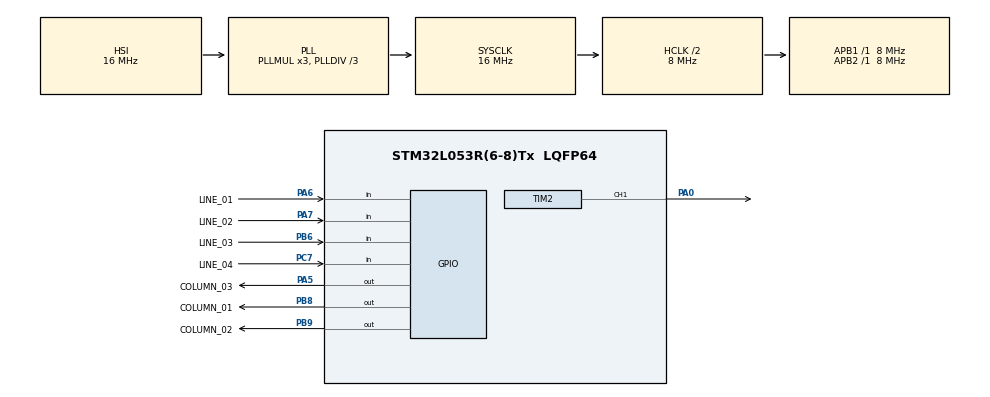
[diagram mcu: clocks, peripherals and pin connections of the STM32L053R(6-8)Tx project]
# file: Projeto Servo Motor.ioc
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Mcu.Family=STM32L0
Mcu.Name=STM32L053R(6-8)Tx
Mcu.Package=LQFP64
PA0.Signal=S_TIM2_CH1
PA5.GPIO_Label=COLUMN_03
PA5.GPIO_PuPd=GPIO_NOPULL
PA5.Signal=GPIO_Output
PA6.GPIO_Label=LINE_01
PA6.GPIO_PuPd=GPIO_PULLUP
PA6.Signal=GPIO_Input
PA7.GPIO_Label=LINE_02
PA7.GPIO_PuPd=GPIO_PULLUP
PA7.Signal=GPIO_Input
PB6.GPIO_Label=LINE_03
PB6.GPIO_PuPd=GPIO_PULLUP
PB6.Signal=GPIO_Input
PB8.GPIO_Label=COLUMN_01
PB8.Signal=GPIO_Output
PB9.GPIO_Label=COLUMN_02
PB9.Signal=GPIO_Output
PC7.GPIO_Label=LINE_04
PC7.GPIO_PuPd=GPIO_PULLUP
PC7.Signal=GPIO_Input
ProjectManager.HeapSize=0x200
ProjectManager.StackSize=0x400
ProjectManager.TargetToolchain=STM32CubeIDE
RCC.AHBCLKDivider=RCC_SYSCLK_DIV2
RCC.AHBFreq_Value=8000000
RCC.APB1Freq_Value=8000000
RCC.APB1TimFreq_Value=8000000
RCC.APB2Freq_Value=8000000
RCC.APB2TimFreq_Value=8000000
RCC.HCLKFreq_Value=8000000
RCC.HSE_VALUE=8000000
RCC.HSI16_VALUE=16000000
RCC.HSI48_VALUE=48000000
RCC.HSI_VALUE=16000000
RCC.MSI_VALUE=2097000
RCC.PLLDIV=RCC_PLLDIV_3
RCC.SYSCLKFreq_VALUE=16000000
RCC.SYSCLKSource=RCC_SYSCLKSOURCE_PLLCLK
RCC.VCOOutputFreq_Value=48000000
SH.S_TIM2_CH1.0=TIM2_CH1,PWM Generation1 CH1
TIM2.Channel-PWM\ Generation1\ CH1=TIM_CHANNEL_1
TIM2.Period=20000-1
TIM2.Prescaler=8-1
TIM2.Pulse-PWM\ Generation1\ CH1=500-1
VP_TIM2_VS_ClockSourceINT.Mode=Internal
board=NUCLEO-L053R8

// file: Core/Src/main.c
/* USER CODE BEGIN Header */
/**
  ******************************************************************************
  * @file           : main.c
  * @brief          : Main program body
  ******************************************************************************
  * @attention
  *
  * Copyright (c) 2025 STMicroelectronics.
  * All rights reserved.
  *
  * This software is licensed under terms that can be found in the LICENSE file
  * in the root directory of this software component.
  * If no LICENSE file comes with this software, it is provided AS-IS.
  *
  ******************************************************************************
  */
/* USER CODE END Header */
#include "main.h"

TIM_HandleTypeDef htim2;

/* USER CODE BEGIN PV */

char tmap[4][3] = {{'1', '2', '3'}, {'4', '5', '6'}, {'7', '8', '9'}, {'*', '0', '#'}};

uint8_t atual_column = 1;
uint16_t dc_servo = 150;

char response = 0;

/* USER CODE END PV */

void SystemClock_Config(void);
static void MX_GPIO_Init(void);
static void MX_TIM2_Init(void);
/* USER CODE BEGIN PFP */
void Keyboard_check(void);
void Line_verify(void);
/* USER CODE END PFP */

int main(void)
{

  /* MCU Configuration--------------------------------------------------------*/

  /* Reset of all peripherals, Initializes the Flash interface and the Systick. */
  HAL_Init();

  /* Configure the system clock */
  SystemClock_Config();

  /* Initialize all configured peripherals */
  MX_GPIO_Init();
  MX_TIM2_Init();
  /* USER CODE BEGIN 2 */

  HAL_TIM_Base_Start(&htim2);
  HAL_TIM_PWM_Start(&htim2, TIM_CHANNEL_1);

  /* USER CODE END 2 */

  /* Infinite loop */
  /* USER CODE BEGIN WHILE */
  while (1)
  {
	  Keyboard_check();
	  TIM2 -> CCR1 = 500;
	  HAL_Delay(1000);
	  TIM2 -> CCR1 = 1500;
	  HAL_Delay(1000);
	  TIM2 -> CCR1 = 2500;
	  HAL_Delay(1000);

    /* USER CODE END WHILE */

  }
}

void SystemClock_Config(void)
{
  RCC_OscInitTypeDef RCC_OscInitStruct = {0};
  RCC_ClkInitTypeDef RCC_ClkInitStruct = {0};

  /** Configure the main internal regulator output voltage
  */
  __HAL_PWR_VOLTAGESCALING_CONFIG(PWR_REGULATOR_VOLTAGE_SCALE1);

  /** Initializes the RCC Oscillators according to the specified parameters
  * in the RCC_OscInitTypeDef structure.
  */
  RCC_OscInitStruct.OscillatorType = RCC_OSCILLATORTYPE_HSI;
  RCC_OscInitStruct.HSIState = RCC_HSI_ON;
  RCC_OscInitStruct.HSICalibrationValue = RCC_HSICALIBRATION_DEFAULT;
  RCC_OscInitStruct.PLL.PLLState = RCC_PLL_ON;
  RCC_OscInitStruct.PLL.PLLSource = RCC_PLLSOURCE_HSI;
  RCC_OscInitStruct.PLL.PLLMUL = RCC_PLLMUL_3;
  RCC_OscInitStruct.PLL.PLLDIV = RCC_PLLDIV_3;
  if (HAL_RCC_OscConfig(&RCC_OscInitStruct) != HAL_OK)
  {
    Error_Handler();
  }

  /** Initializes the CPU, AHB and APB buses clocks
  */
  RCC_ClkInitStruct.ClockType = RCC_CLOCKTYPE_HCLK|RCC_CLOCKTYPE_SYSCLK
                              |RCC_CLOCKTYPE_PCLK1|RCC_CLOCKTYPE_PCLK2;
  RCC_ClkInitStruct.SYSCLKSource = RCC_SYSCLKSOURCE_PLLCLK;
  RCC_ClkInitStruct.AHBCLKDivider = RCC_SYSCLK_DIV2;
  RCC_ClkInitStruct.APB1CLKDivider = RCC_HCLK_DIV1;
  RCC_ClkInitStruct.APB2CLKDivider = RCC_HCLK_DIV1;

  if (HAL_RCC_ClockConfig(&RCC_ClkInitStruct, FLASH_LATENCY_0) != HAL_OK)
  {
    Error_Handler();
  }
}

static void MX_TIM2_Init(void)
{

  TIM_ClockConfigTypeDef sClockSourceConfig = {0};
  TIM_MasterConfigTypeDef sMasterConfig = {0};
  TIM_OC_InitTypeDef sConfigOC = {0};

  htim2.Instance = TIM2;
  htim2.Init.Prescaler = 8-1;
  htim2.Init.CounterMode = TIM_COUNTERMODE_UP;
  htim2.Init.Period = 20000-1;
  htim2.Init.ClockDivision = TIM_CLOCKDIVISION_DIV1;
  htim2.Init.AutoReloadPreload = TIM_AUTORELOAD_PRELOAD_DISABLE;
  if (HAL_TIM_Base_Init(&htim2) != HAL_OK)
  {
    Error_Handler();
  }
  sClockSourceConfig.ClockSource = TIM_CLOCKSOURCE_INTERNAL;
  if (HAL_TIM_ConfigClockSource(&htim2, &sClockSourceConfig) != HAL_OK)
  {
    Error_Handler();
  }
  if (HAL_TIM_PWM_Init(&htim2) != HAL_OK)
  {
    Error_Handler();
  }
  sMasterConfig.MasterOutputTrigger = TIM_TRGO_RESET;
  sMasterConfig.MasterSlaveMode = TIM_MASTERSLAVEMODE_DISABLE;
  if (HAL_TIMEx_MasterConfigSynchronization(&htim2, &sMasterConfig) != HAL_OK)
  {
    Error_Handler();
  }
  sConfigOC.OCMode = TIM_OCMODE_PWM1;
  sConfigOC.Pulse = 500-1;
  sConfigOC.OCPolarity = TIM_OCPOLARITY_HIGH;
  sConfigOC.OCFastMode = TIM_OCFAST_DISABLE;
  if (HAL_TIM_PWM_ConfigChannel(&htim2, &sConfigOC, TIM_CHANNEL_1) != HAL_OK)
  {
    Error_Handler();
  }
  HAL_TIM_MspPostInit(&htim2);

}

static void MX_GPIO_Init(void)
{
  GPIO_InitTypeDef GPIO_InitStruct = {0};

  /* GPIO Ports Clock Enable */
  __HAL_RCC_GPIOA_CLK_ENABLE();
  __HAL_RCC_GPIOC_CLK_ENABLE();
  __HAL_RCC_GPIOB_CLK_ENABLE();

  /*Configure GPIO pin Output Level */
  HAL_GPIO_WritePin(COLUMN_03_GPIO_Port, COLUMN_03_Pin, GPIO_PIN_RESET);

  /*Configure GPIO pin Output Level */
  HAL_GPIO_WritePin(GPIOB, COLUMN_01_Pin|COLUMN_02_Pin, GPIO_PIN_RESET);

  /*Configure GPIO pin : COLUMN_03_Pin */
  GPIO_InitStruct.Pin = COLUMN_03_Pin;
  GPIO_InitStruct.Mode = GPIO_MODE_OUTPUT_PP;
  GPIO_InitStruct.Pull = GPIO_NOPULL;
  GPIO_InitStruct.Speed = GPIO_SPEED_FREQ_LOW;
  HAL_GPIO_Init(COLUMN_03_GPIO_Port, &GPIO_InitStruct);

  /*Configure GPIO pins : LINE_01_Pin LINE_02_Pin */
  GPIO_InitStruct.Pin = LINE_01_Pin|LINE_02_Pin;
  GPIO_InitStruct.Mode = GPIO_MODE_INPUT;
  GPIO_InitStruct.Pull = GPIO_PULLUP;
  HAL_GPIO_Init(GPIOA, &GPIO_InitStruct);

  /*Configure GPIO pin : LINE_04_Pin */
  GPIO_InitStruct.Pin = LINE_04_Pin;
  GPIO_InitStruct.Mode = GPIO_MODE_INPUT;
  GPIO_InitStruct.Pull = GPIO_PULLUP;
  HAL_GPIO_Init(LINE_04_GPIO_Port, &GPIO_InitStruct);

  /*Configure GPIO pin : LINE_03_Pin */
  GPIO_InitStruct.Pin = LINE_03_Pin;
  GPIO_InitStruct.Mode = GPIO_MODE_INPUT;
  GPIO_InitStruct.Pull = GPIO_PULLUP;
  HAL_GPIO_Init(LINE_03_GPIO_Port, &GPIO_InitStruct);

  /*Configure GPIO pins : COLUMN_01_Pin COLUMN_02_Pin */
  GPIO_InitStruct.Pin = COLUMN_01_Pin|COLUMN_02_Pin;
  GPIO_InitStruct.Mode = GPIO_MODE_OUTPUT_PP;
  GPIO_InitStruct.Pull = GPIO_NOPULL;
  GPIO_InitStruct.Speed = GPIO_SPEED_FREQ_LOW;
  HAL_GPIO_Init(GPIOB, &GPIO_InitStruct);

}

/* USER CODE BEGIN 4 */
void Keyboard_check(void){
	switch (atual_column){
		case 1:
			HAL_GPIO_WritePin(COLUMN_01_GPIO_Port, COLUMN_01_Pin, GPIO_PIN_RESET);
			HAL_GPIO_WritePin(COLUMN_02_GPIO_Port, COLUMN_02_Pin, GPIO_PIN_SET);
			HAL_GPIO_WritePin(COLUMN_03_GPIO_Port, COLUMN_03_Pin, GPIO_PIN_SET);
			Line_verify();
			atual_column = 2;
			break;

		case 2:
			HAL_GPIO_WritePin(COLUMN_01_GPIO_Port, COLUMN_01_Pin, GPIO_PIN_SET);
			HAL_GPIO_WritePin(COLUMN_02_GPIO_Port, COLUMN_02_Pin, GPIO_PIN_RESET);
			HAL_GPIO_WritePin(COLUMN_03_GPIO_Port, COLUMN_03_Pin, GPIO_PIN_SET);
			Line_verify();
			atual_column = 3;
			break;

		case 3:
			HAL_GPIO_WritePin(COLUMN_01_GPIO_Port, COLUMN_01_Pin, GPIO_PIN_SET);
			HAL_GPIO_WritePin(COLUMN_02_GPIO_Port, COLUMN_02_Pin, GPIO_PIN_SET);
			HAL_GPIO_WritePin(COLUMN_03_GPIO_Port, COLUMN_03_Pin, GPIO_PIN_RESET);
			Line_verify();
			atual_column = 1;
			break;
	}
}

void Line_verify(void){
	uint8_t bline1 = HAL_GPIO_ReadPin(LINE_01_GPIO_Port, LINE_01_Pin),
			bline2 = HAL_GPIO_ReadPin(LINE_02_GPIO_Port, LINE_02_Pin),
			bline3 = HAL_GPIO_ReadPin(LINE_03_GPIO_Port, LINE_03_Pin),
			bline4 = HAL_GPIO_ReadPin(LINE_04_GPIO_Port, LINE_04_Pin);

	if (!bline1) response = tmap[0][atual_column - 1];
	if (!bline2) response = tmap[1][atual_column - 1];
	if (!bline3) response = tmap[2][atual_column - 1];
	if (!bline4) response = tmap[3][atual_column - 1];
}

/* USER CODE END 4 */

void Error_Handler(void)
{
  __disable_irq();
  while (1)
  {
  }
}
